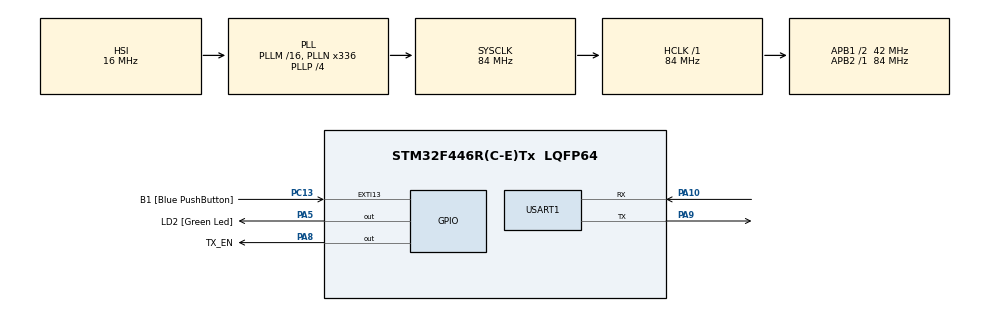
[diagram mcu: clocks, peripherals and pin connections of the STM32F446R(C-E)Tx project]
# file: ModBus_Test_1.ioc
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Mcu.Family=STM32F4
Mcu.Name=STM32F446R(C-E)Tx
Mcu.Package=LQFP64
NVIC.PriorityGroup=NVIC_PRIORITYGROUP_0
NVIC.USART1_IRQn=true\:0\:0\:false\:false\:true\:true\:true\:true
PA10.Mode=Asynchronous
PA10.Signal=USART1_RX
PA13.GPIO_Label=TMS
PA13.Mode=Serial_Wire
PA13.Signal=SYS_JTMS-SWDIO
PA14.GPIO_Label=TCK
PA14.Mode=Serial_Wire
PA14.Signal=SYS_JTCK-SWCLK
PA2.GPIO_Label=USART_TX
PA2.Signal=USART2_TX
PA3.GPIO_Label=USART_RX
PA3.Signal=USART2_RX
PA5.GPIO_Label=LD2 [Green Led]
PA5.Signal=GPIO_Output
PA8.GPIO_Label=TX_EN
PA8.Signal=GPIO_Output
PA9.Mode=Asynchronous
PA9.Signal=USART1_TX
PB3.GPIO_Label=SWO
PB3.Signal=SYS_JTDO-SWO
PC13.GPIO_Label=B1 [Blue PushButton]
PC13.GPIO_ModeDefaultEXTI=GPIO_MODE_IT_FALLING
PC13.Signal=GPXTI13
PC14-OSC32_IN.Mode=LSE-External-Oscillator
PC14-OSC32_IN.Signal=RCC_OSC32_IN
PC15-OSC32_OUT.Mode=LSE-External-Oscillator
PC15-OSC32_OUT.Signal=RCC_OSC32_OUT
PH0-OSC_IN.Mode=HSE-External-Oscillator
PH0-OSC_IN.Signal=RCC_OSC_IN
PH1-OSC_OUT.Mode=HSE-External-Oscillator
PH1-OSC_OUT.Signal=RCC_OSC_OUT
ProjectManager.HeapSize=0x200
ProjectManager.StackSize=0x400
ProjectManager.TargetToolchain=STM32CubeIDE
RCC.48MHZClocksFreq_Value=84000000
RCC.AHBFreq_Value=84000000
RCC.APB1CLKDivider=RCC_HCLK_DIV2
RCC.APB1Freq_Value=42000000
RCC.APB1TimFreq_Value=84000000
RCC.APB2Freq_Value=84000000
RCC.APB2TimFreq_Value=84000000
RCC.CortexFreq_Value=84000000
RCC.FLatency-AdvancedSettings=FLASH_LATENCY_2
RCC.HCLKFreq_Value=84000000
RCC.HSE_VALUE=8000000
RCC.HSI_VALUE=16000000
RCC.PLLN=336
RCC.PLLP=RCC_PLLP_DIV4
RCC.SYSCLKFreq_VALUE=84000000
RCC.SYSCLKSource=RCC_SYSCLKSOURCE_PLLCLK
RCC.USBFreq_Value=168000000
RCC.VCOOutputFreq_Value=336000000
USART1.VirtualMode=VM_ASYNC
board=NUCLEO-F446RE

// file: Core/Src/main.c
/* USER CODE BEGIN Header */
/**
  ******************************************************************************
  * @file           : main.c
  * @brief          : Main program body
  ******************************************************************************
  * @attention
  *
  * Copyright (c) 2024 STMicroelectronics.
  * All rights reserved.
  *
  * This software is licensed under terms that can be found in the LICENSE file
  * in the root directory of this software component.
  * If no LICENSE file comes with this software, it is provided AS-IS.
  *
  ******************************************************************************
  */
/* USER CODE END Header */
#include "main.h"

UART_HandleTypeDef huart1;

/* USER CODE BEGIN PV */
uint8_t RxData[32];
uint8_t TxData[8];
uint16_t Data[10];

/* Table of CRC values for high±order byte */
static unsigned char table_crc_hi[] = {
0x00, 0xC1, 0x81, 0x40, 0x01, 0xC0, 0x80, 0x41, 0x01, 0xC0, 0x80, 0x41, 0x00, 0xC1, 0x81,
0x40, 0x01, 0xC0, 0x80, 0x41, 0x00, 0xC1, 0x81, 0x40, 0x00, 0xC1, 0x81, 0x40, 0x01, 0xC0,
0x80, 0x41, 0x01, 0xC0, 0x80, 0x41, 0x00, 0xC1, 0x81, 0x40, 0x00, 0xC1, 0x81, 0x40, 0x01,
0xC0, 0x80, 0x41, 0x00, 0xC1, 0x81, 0x40, 0x01, 0xC0, 0x80, 0x41, 0x01, 0xC0, 0x80, 0x41,
0x00, 0xC1, 0x81, 0x40, 0x01, 0xC0, 0x80, 0x41, 0x00, 0xC1, 0x81, 0x40, 0x00, 0xC1, 0x81,
0x40, 0x01, 0xC0, 0x80, 0x41, 0x00, 0xC1, 0x81, 0x40, 0x01, 0xC0, 0x80, 0x41, 0x01, 0xC0,
0x80, 0x41, 0x00, 0xC1, 0x81, 0x40, 0x00, 0xC1, 0x81, 0x40, 0x01, 0xC0, 0x80, 0x41, 0x01,
0xC0, 0x80, 0x41, 0x00, 0xC1, 0x81, 0x40, 0x01, 0xC0, 0x80, 0x41, 0x00, 0xC1, 0x81, 0x40,
0x00, 0xC1, 0x81, 0x40, 0x01, 0xC0, 0x80, 0x41, 0x01, 0xC0, 0x80, 0x41, 0x00, 0xC1, 0x81,
0x40, 0x00, 0xC1, 0x81, 0x40, 0x01, 0xC0, 0x80, 0x41, 0x00, 0xC1, 0x81, 0x40, 0x01, 0xC0,
0x80, 0x41, 0x01, 0xC0, 0x80, 0x41, 0x00, 0xC1, 0x81, 0x40, 0x00, 0xC1, 0x81, 0x40, 0x01,
0xC0, 0x80, 0x41, 0x01, 0xC0, 0x80, 0x41, 0x00, 0xC1, 0x81, 0x40, 0x01, 0xC0, 0x80, 0x41,
0x00, 0xC1, 0x81, 0x40, 0x00, 0xC1, 0x81, 0x40, 0x01, 0xC0, 0x80, 0x41, 0x00, 0xC1, 0x81,
0x40, 0x01, 0xC0, 0x80, 0x41, 0x01, 0xC0, 0x80, 0x41, 0x00, 0xC1, 0x81, 0x40, 0x01, 0xC0,
0x80, 0x41, 0x00, 0xC1, 0x81, 0x40, 0x00, 0xC1, 0x81, 0x40, 0x01, 0xC0, 0x80, 0x41, 0x01,
0xC0, 0x80, 0x41, 0x00, 0xC1, 0x81, 0x40, 0x00, 0xC1, 0x81, 0x40, 0x01, 0xC0, 0x80, 0x41,
0x00, 0xC1, 0x81, 0x40, 0x01, 0xC0, 0x80, 0x41, 0x01, 0xC0, 0x80, 0x41, 0x00, 0xC1, 0x81,
0x40
};

/* Table of CRC values for low±order byte */
static char table_crc_lo[] = {
0x00, 0xC0, 0xC1, 0x01, 0xC3, 0x03, 0x02, 0xC2, 0xC6, 0x06, 0x07, 0xC7, 0x05, 0xC5, 0xC4,
0x04, 0xCC, 0x0C, 0x0D, 0xCD, 0x0F, 0xCF, 0xCE, 0x0E, 0x0A, 0xCA, 0xCB, 0x0B, 0xC9, 0x09,
0x08, 0xC8, 0xD8, 0x18, 0x19, 0xD9, 0x1B, 0xDB, 0xDA, 0x1A, 0x1E, 0xDE, 0xDF, 0x1F, 0xDD,
0x1D, 0x1C, 0xDC, 0x14, 0xD4, 0xD5, 0x15, 0xD7, 0x17, 0x16, 0xD6, 0xD2, 0x12, 0x13, 0xD3,
0x11, 0xD1, 0xD0, 0x10, 0xF0, 0x30, 0x31, 0xF1, 0x33, 0xF3, 0xF2, 0x32, 0x36, 0xF6, 0xF7,
0x37, 0xF5, 0x35, 0x34, 0xF4, 0x3C, 0xFC, 0xFD, 0x3D, 0xFF, 0x3F, 0x3E, 0xFE, 0xFA, 0x3A,
0x3B, 0xFB, 0x39, 0xF9, 0xF8, 0x38, 0x28, 0xE8, 0xE9, 0x29, 0xEB, 0x2B, 0x2A, 0xEA, 0xEE,
0x2E, 0x2F, 0xEF, 0x2D, 0xED, 0xEC, 0x2C, 0xE4, 0x24, 0x25, 0xE5, 0x27, 0xE7, 0xE6, 0x26,
0x22, 0xE2, 0xE3, 0x23, 0xE1, 0x21, 0x20, 0xE0, 0xA0, 0x60, 0x61, 0xA1, 0x63, 0xA3, 0xA2,
0x62, 0x66, 0xA6, 0xA7, 0x67, 0xA5, 0x65, 0x64, 0xA4, 0x6C, 0xAC, 0xAD, 0x6D, 0xAF, 0x6F,
0x6E, 0xAE, 0xAA, 0x6A, 0x6B, 0xAB, 0x69, 0xA9, 0xA8, 0x68, 0x78, 0xB8, 0xB9, 0x79, 0xBB,
0x7B, 0x7A, 0xBA, 0xBE, 0x7E, 0x7F, 0xBF, 0x7D, 0xBD, 0xBC, 0x7C, 0xB4, 0x74, 0x75, 0xB5,
0x77, 0xB7, 0xB6, 0x76, 0x72, 0xB2, 0xB3, 0x73, 0xB1, 0x71, 0x70, 0xB0, 0x50, 0x90, 0x91,
0x51, 0x93, 0x53, 0x52, 0x92, 0x96, 0x56, 0x57, 0x97, 0x55, 0x95, 0x94, 0x54, 0x9C, 0x5C,
0x5D, 0x9D, 0x5F, 0x9F, 0x9E, 0x5E, 0x5A, 0x9A, 0x9B, 0x5B, 0x99, 0x59, 0x58, 0x98, 0x88,
0x48, 0x49, 0x89, 0x4B, 0x8B, 0x8A, 0x4A, 0x4E, 0x8E, 0x8F, 0x4F, 0x8D, 0x4D, 0x4C, 0x8C,
0x44, 0x84, 0x85, 0x45, 0x87, 0x47, 0x46, 0x86, 0x82, 0x42, 0x43, 0x83, 0x41, 0x81, 0x80,
0x40
};

/* USER CODE END PV */

void SystemClock_Config(void);
static void MX_GPIO_Init(void);
static void MX_USART1_UART_Init(void);
uint16_t crc16(uint8_t *buffer, uint16_t buffer_length);

int main(void)
{

  /* MCU Configuration--------------------------------------------------------*/

  /* Reset of all peripherals, Initializes the Flash interface and the Systick. */
  HAL_Init();

  /* Configure the system clock */
  SystemClock_Config();

  /* Initialize all configured peripherals */
  MX_GPIO_Init();
  MX_USART1_UART_Init();
  /* USER CODE BEGIN 2 */
  HAL_UARTEx_ReceiveToIdle_IT(&huart1, RxData, 32);

   TxData[0] = 0x05;  // slave address
   TxData[1] = 0x03;  // Function code for Read Holding Registers

   TxData[2] = 0;
   TxData[3] = 0x04;
   //The Register address will be 00000000 00000100 = 4 + 40001 = 40005

   TxData[4] = 0;
   TxData[5] = 0x05;
   // no of registers to read will be 00000000 00000101 = 5 Registers = 10 Bytes

   uint16_t crc = crc16(TxData, 6);
   TxData[6] = crc&0xFF;   // CRC LOW
   TxData[7] = (crc>>8)&0xFF;  // CRC HIGH

   send_data(TxData);
  /* USER CODE END 2 */

  /* Infinite loop */
  while (1)
  {

  }
}

void SystemClock_Config(void)
{
  RCC_OscInitTypeDef RCC_OscInitStruct = {0};
  RCC_ClkInitTypeDef RCC_ClkInitStruct = {0};

  /** Configure the main internal regulator output voltage
  */
  __HAL_RCC_PWR_CLK_ENABLE();
  __HAL_PWR_VOLTAGESCALING_CONFIG(PWR_REGULATOR_VOLTAGE_SCALE3);

  /** Initializes the RCC Oscillators according to the specified parameters
  * in the RCC_OscInitTypeDef structure.
  */
  RCC_OscInitStruct.OscillatorType = RCC_OSCILLATORTYPE_HSI;
  RCC_OscInitStruct.HSIState = RCC_HSI_ON;
  RCC_OscInitStruct.HSICalibrationValue = RCC_HSICALIBRATION_DEFAULT;
  RCC_OscInitStruct.PLL.PLLState = RCC_PLL_ON;
  RCC_OscInitStruct.PLL.PLLSource = RCC_PLLSOURCE_HSI;
  RCC_OscInitStruct.PLL.PLLM = 16;
  RCC_OscInitStruct.PLL.PLLN = 336;
  RCC_OscInitStruct.PLL.PLLP = RCC_PLLP_DIV4;
  RCC_OscInitStruct.PLL.PLLQ = 2;
  RCC_OscInitStruct.PLL.PLLR = 2;
  if (HAL_RCC_OscConfig(&RCC_OscInitStruct) != HAL_OK)
  {
    Error_Handler();
  }

  /** Initializes the CPU, AHB and APB buses clocks
  */
  RCC_ClkInitStruct.ClockType = RCC_CLOCKTYPE_HCLK|RCC_CLOCKTYPE_SYSCLK
                              |RCC_CLOCKTYPE_PCLK1|RCC_CLOCKTYPE_PCLK2;
  RCC_ClkInitStruct.SYSCLKSource = RCC_SYSCLKSOURCE_PLLCLK;
  RCC_ClkInitStruct.AHBCLKDivider = RCC_SYSCLK_DIV1;
  RCC_ClkInitStruct.APB1CLKDivider = RCC_HCLK_DIV2;
  RCC_ClkInitStruct.APB2CLKDivider = RCC_HCLK_DIV1;

  if (HAL_RCC_ClockConfig(&RCC_ClkInitStruct, FLASH_LATENCY_2) != HAL_OK)
  {
    Error_Handler();
  }
}

static void MX_USART1_UART_Init(void)
{

  huart1.Instance = USART1;
  huart1.Init.BaudRate = 115200;
  huart1.Init.WordLength = UART_WORDLENGTH_8B;
  huart1.Init.StopBits = UART_STOPBITS_1;
  huart1.Init.Parity = UART_PARITY_NONE;
  huart1.Init.Mode = UART_MODE_TX_RX;
  huart1.Init.HwFlowCtl = UART_HWCONTROL_NONE;
  huart1.Init.OverSampling = UART_OVERSAMPLING_16;
  if (HAL_UART_Init(&huart1) != HAL_OK)
  {
    Error_Handler();
  }

}

static void MX_GPIO_Init(void)
{
  GPIO_InitTypeDef GPIO_InitStruct = {0};

  /* GPIO Ports Clock Enable */
  __HAL_RCC_GPIOC_CLK_ENABLE();
  __HAL_RCC_GPIOH_CLK_ENABLE();
  __HAL_RCC_GPIOA_CLK_ENABLE();
  __HAL_RCC_GPIOB_CLK_ENABLE();

  /*Configure GPIO pin Output Level */
  HAL_GPIO_WritePin(GPIOA, LD2_Pin|TX_EN_Pin, GPIO_PIN_RESET);

  /*Configure GPIO pin : B1_Pin */
  GPIO_InitStruct.Pin = B1_Pin;
  GPIO_InitStruct.Mode = GPIO_MODE_IT_FALLING;
  GPIO_InitStruct.Pull = GPIO_NOPULL;
  HAL_GPIO_Init(B1_GPIO_Port, &GPIO_InitStruct);

  /*Configure GPIO pins : USART_TX_Pin USART_RX_Pin */
  GPIO_InitStruct.Pin = USART_TX_Pin|USART_RX_Pin;
  GPIO_InitStruct.Mode = GPIO_MODE_AF_PP;
  GPIO_InitStruct.Pull = GPIO_NOPULL;
  GPIO_InitStruct.Speed = GPIO_SPEED_FREQ_VERY_HIGH;
  GPIO_InitStruct.Alternate = GPIO_AF7_USART2;
  HAL_GPIO_Init(GPIOA, &GPIO_InitStruct);

  /*Configure GPIO pins : LD2_Pin TX_EN_Pin */
  GPIO_InitStruct.Pin = LD2_Pin|TX_EN_Pin;
  GPIO_InitStruct.Mode = GPIO_MODE_OUTPUT_PP;
  GPIO_InitStruct.Pull = GPIO_NOPULL;
  GPIO_InitStruct.Speed = GPIO_SPEED_FREQ_LOW;
  HAL_GPIO_Init(GPIOA, &GPIO_InitStruct);

}

/* USER CODE BEGIN 4 */
void HAL_UARTEx_RxEventCallback(UART_HandleTypeDef *huart, uint16_t Size)
{
  /* Prevent unused argument(s) compilation warning */
  UNUSED(huart);
  UNUSED(Size);

  /* NOTE : This function should not be modified, when the callback is needed,
            the HAL_UARTEx_RxEventCallback can be implemented in the user file.
   */

    Data[0] = RxData[3]<<8 | RxData[4];
  	Data[1] = RxData[5]<<8 | RxData[6];
  	Data[2] = RxData[7]<<8 | RxData[8];
  	Data[3] = RxData[9]<<8 | RxData[10];
  	Data[4] = RxData[11]<<8 | RxData[12];
}

void send_data(uint8_t *data)
{
	HAL_GPIO_WritePin(TX_EN_GPIO_Port, TX_EN_Pin, GPIO_PIN_SET);
	HAL_UART_Transmit(&huart1, data, 8, 1000);
	HAL_GPIO_WritePin(TX_EN_GPIO_Port,TX_EN_Pin , GPIO_PIN_RESET);
}

uint16_t crc16(uint8_t *buffer, uint16_t buffer_length)
{
	uint8_t crc_hi = 0xFF; // high CRC byte initialized
	uint8_t crc_lo = 0xFF; // low CRC byte initialized

	unsigned int i; /*will index into CRC lookup*/

	/*pass through message buffer*/
	while(buffer_length--)
	{
		i = crc_lo ^ *buffer++; /*calculate the CRC*/
		crc_lo = crc_hi ^ table_crc_hi[i];
		crc_hi = table_crc_lo[i];
	}

	return (crc_hi << 8 | crc_lo);
}

/* USER CODE END 4 */

void Error_Handler(void)
{
  __disable_irq();
  while (1)
  {
  }
}
